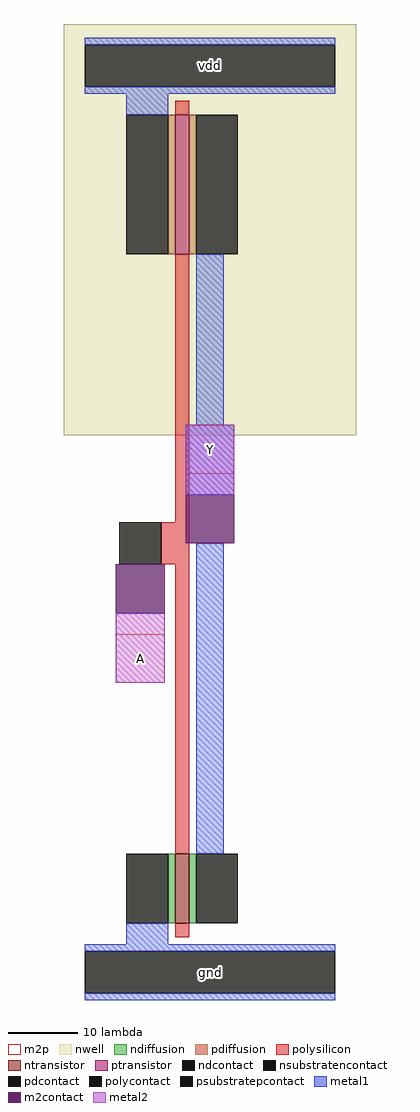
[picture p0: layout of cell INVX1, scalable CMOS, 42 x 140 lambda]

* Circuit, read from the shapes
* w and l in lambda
.subckt INVX1 A Y vdd gnd
M1 Y A gnd gnd nfet w=10 l=2
M2 Y A vdd vdd pfet w=20 l=2
.ends

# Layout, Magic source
magic
tech scmos
magscale 1 2
<< nwell >>
rect -12 154 72 272
<< ntransistor >>
rect 20 14 24 34
<< ptransistor >>
rect 20 206 24 246
<< ndiffusion >>
rect 18 14 20 34
rect 24 14 26 34
<< pdiffusion >>
rect 18 206 20 246
rect 24 206 26 246
<< ndcontact >>
rect 6 14 18 34
rect 26 14 38 34
<< pdcontact >>
rect 6 206 18 246
rect 26 206 38 246
<< psubstratepcontact >>
rect -6 -6 66 6
<< nsubstratencontact >>
rect -6 254 66 266
<< polysilicon >>
rect 20 246 24 250
rect 20 129 24 206
rect 16 117 24 129
rect 20 34 24 117
rect 20 10 24 14
<< polycontact >>
rect 4 117 16 129
<< metal1 >>
rect -6 266 66 268
rect -6 252 66 254
rect 6 246 18 252
rect 26 157 34 206
rect 23 137 37 157
rect 26 34 34 123
rect 6 8 18 14
rect -6 6 66 8
rect -6 -8 66 -6
<< m2contact >>
rect 23 123 37 137
rect 3 103 17 117
<< metal2 >>
rect 23 137 37 157
rect 3 83 17 103
<< m2p >>
rect 23 143 37 157
rect 3 83 17 97
<< labels >>
rlabel metal2 3 83 17 97 0 A
port 0 nsew signal input
rlabel metal2 23 143 37 157 0 Y
port 1 nsew signal output
rlabel metal1 -6 252 66 268 0 vdd
port 2 nsew power bidirectional abutment
rlabel metal1 -6 -8 66 8 0 gnd
port 3 nsew ground bidirectional abutment
<< properties >>
string FIXED_BBOX 0 0 60 260
string LEFclass CORE
string LEFsite core
string LEFsymmetry X Y
<< end >>
